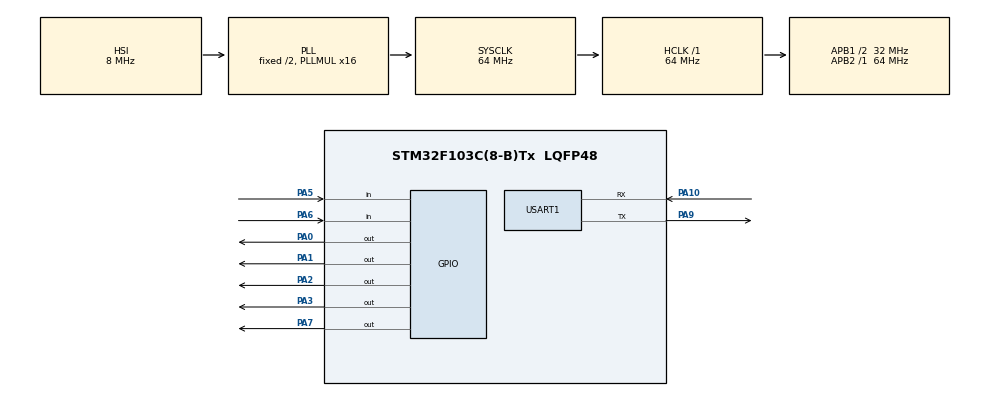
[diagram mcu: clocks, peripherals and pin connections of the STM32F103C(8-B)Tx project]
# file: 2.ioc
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Mcu.Family=STM32F1
Mcu.Name=STM32F103C(8-B)Tx
Mcu.Package=LQFP48
NVIC.PriorityGroup=NVIC_PRIORITYGROUP_4
NVIC.TIM2_IRQn=true\:0\:0\:false\:false\:true\:true\:true\:true
NVIC.TIM3_IRQn=true\:0\:0\:false\:false\:true\:true\:true\:true
PA0-WKUP.PinState=GPIO_PIN_SET
PA0-WKUP.Signal=GPIO_Output
PA1.PinState=GPIO_PIN_SET
PA1.Signal=GPIO_Output
PA10.Mode=Asynchronous
PA10.Signal=USART1_RX
PA2.PinState=GPIO_PIN_SET
PA2.Signal=GPIO_Output
PA3.PinState=GPIO_PIN_SET
PA3.Signal=GPIO_Output
PA5.GPIO_PuPd=GPIO_PULLUP
PA5.Signal=GPIO_Input
PA6.GPIO_PuPd=GPIO_PULLUP
PA6.Signal=GPIO_Input
PA7.GPIO_ModeDefaultOutputPP=GPIO_MODE_OUTPUT_OD
PA7.GPIO_PuPd=GPIO_PULLUP
PA7.GPIO_Speed=GPIO_SPEED_FREQ_HIGH
PA7.PinState=GPIO_PIN_SET
PA7.Signal=GPIO_Output
PA9.Mode=Asynchronous
PA9.Signal=USART1_TX
ProjectManager.HeapSize=0x200
ProjectManager.StackSize=0x400
ProjectManager.TargetToolchain=STM32CubeIDE
RCC.AHBFreq_Value=64000000
RCC.APB1CLKDivider=RCC_HCLK_DIV2
RCC.APB1Freq_Value=32000000
RCC.APB1TimFreq_Value=64000000
RCC.APB2Freq_Value=64000000
RCC.APB2TimFreq_Value=64000000
RCC.HCLKFreq_Value=64000000
RCC.PLLMUL=RCC_PLL_MUL16
RCC.SYSCLKFreq_VALUE=64000000
RCC.SYSCLKSource=RCC_SYSCLKSOURCE_PLLCLK
RCC.USBFreq_Value=64000000
TIM2.Prescaler=64-1
TIM3.AutoReloadPreload=TIM_AUTORELOAD_PRELOAD_ENABLE
USART1.VirtualMode=VM_ASYNC
VP_SYS_VS_ND.Mode=No_Debug
VP_TIM2_VS_ClockSourceINT.Mode=Internal
VP_TIM3_VS_ClockSourceINT.Mode=Internal
board=custom

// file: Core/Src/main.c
/* USER CODE BEGIN Header */
/**
  ******************************************************************************
  * @file           : main.c
  * @brief          : Main program body
  ******************************************************************************
  * @attention
  *
  * Copyright (c) 2026 STMicroelectronics.
  * All rights reserved.
  *
  * This software is licensed under terms that can be found in the LICENSE file
  * in the root directory of this software component.
  * If no LICENSE file comes with this software, it is provided AS-IS.
  *
  ******************************************************************************
  */
/* USER CODE END Header */
#include "main.h"

/* USER CODE BEGIN Includes */

#include <stdio.h>
#include <string.h>
#include <cJSON.h>
#include <ds18b20.h>

/* USER CODE END Includes */

/* USER CODE BEGIN PD */

#define ALL_GPIO_PORT   GPIOA
#define BUZZER_GPIO_PIN   GPIO_PIN_0                   				//无源蜂鸣器
#define LED_BLUE_GPIO_PIN   GPIO_PIN_1   							//蓝色LED：代表烟雾报警，低电平点亮
#define LED_GREEN_GPIO_PIN  GPIO_PIN_2   							//绿色LED：代表温度报警，低电平点亮
#define LED_RED_GPIO_PIN    GPIO_PIN_3   							//红色LED：代表火焰报警，低电平点亮
#define FIRE_GPIO_PIN   GPIO_PIN_5									//火焰传感器,识别到火焰为低电平,默认拉高
#define SMOKE_GPIO_PIN   GPIO_PIN_6									//烟雾传感器,识别到烟雾时为低电平,默认拉高
#define TEMPREATURE_GPIO_PIN   GPIO_PIN_7							//温度传感器（DS18B20）的信号线
#define UART_RX_GPIO_PIN   GPIO_PIN_10								//UART接收端
#define UART_TX_GPIO_PIN   GPIO_PIN_9								//UART发射端

/* USER CODE END PD */

TIM_HandleTypeDef htim2;
TIM_HandleTypeDef htim3;

UART_HandleTypeDef huart1;

/* USER CODE BEGIN PV */

volatile uint8_t buzzer_state = 0; 					//无源蜂鸣器状态机，0=灭，1=急促(100ms响/100ms停)，2=缓慢(500ms响/500ms停)，3=长响
volatile _Bool fire_state = 0;						//火焰传感器状态机，0为没火，1为有火
volatile _Bool smoke_state = 0;						//烟雾传感器，0为没烟，1为有烟
volatile float temperature = 0;						//温度传感器值

// 三色LED状态机（每 100ms 换相）：
// 0=灭
// 1=蓝闪(仅烟雾)  2=绿闪(仅温度)  3=红闪(仅火焰)
// 4=蓝↔绿(烟雾+温度)  5=蓝↔红(烟雾+火焰)  6=绿↔红(温度+火焰)
// 7=红→绿→蓝 轮流亮(三路全报)
volatile uint8_t led_state = 0;

ds18b20_t ds18b20; 									//ds18b20所需参数

volatile uint8_t init_err = 0;   /* 扫描返回码 */
volatile uint8_t init_dev = 0;   /* 扫描到的器件数 */

/* USER CODE END PV */

void SystemClock_Config(void);
static void MX_GPIO_Init(void);
static void MX_TIM3_Init(void);
static void MX_TIM2_Init(void);
static void MX_USART1_UART_Init(void);
/* USER CODE BEGIN PFP */

void Buzzer_Set(uint8_t state);										//蜂鸣器状态设置函数声明

void LED_Set(uint8_t state);										//三色LED闪烁状态设置函数声明

void HAL_TIM_PeriodElapsedCallback(TIM_HandleTypeDef *htim);		//定时器中断函数声明

void My_DS18B20_Init(void);											//温度传感器初始化函数定义

float Get_Temperature(void);										//温度传感器读取函数定义

void Send_Sensor_JSON(float temp, uint8_t fire, uint8_t smoke);		//UART串口发送数据函数定义

/* USER CODE END PFP */

int main(void)
{

  /* MCU Configuration--------------------------------------------------------*/

  /* Reset of all peripherals, Initializes the Flash interface and the Systick. */
  HAL_Init();

  /* Configure the system clock */
  SystemClock_Config();

  /* Initialize all configured peripherals */
  MX_GPIO_Init();
  MX_TIM3_Init();
  MX_TIM2_Init();
  MX_USART1_UART_Init();
  /* USER CODE BEGIN 2 */

  // 1. 启动底层心跳定时器（250us，一直跑，永不停止）
  __HAL_TIM_SET_PRESCALER(&htim3, 64 - 1);
  __HAL_TIM_SET_AUTORELOAD(&htim3, 250 - 1);
  __HAL_TIM_SET_COUNTER(&htim3, 0);
  HAL_TIM_Base_Start_IT(&htim3);

  Buzzer_Set(0);				//初始化无源蜂鸣器状态
  LED_Set(0);					//初始化三色LED状态
  My_DS18B20_Init(); 			// 初始化温度传感器
  ds18b20_cnv(&ds18b20);		//开始第一次温度转换

  /* USER CODE END 2 */

  /* Infinite loop */
  while (1)
  {

    /* USER CODE BEGIN 3 */

	    /* ============================================================
	     * DS18B20 掉线自恢复
	     * 原因：My_DS18B20_Init() 只在开机时扫描一次 ROM（约 250ms 内重试）。
	     *       如果传感器上电慢/接触抖动导致这次扫描没应答，rom_id_found
	     *       会一直是 0；而 Get_Temperature() 用 ds18b20_req_read(...,0)
	     *       需要 ROM 编号，于是永远读不到温度（temperature 保持 0）。
	     * 做法：在“没有找到器件”时每 2 秒重新扫描一次；一旦扫到（dev>=1）
	     *       这段就自动不再执行，不影响正常运行的时序。
	     * ============================================================ */
	    static uint32_t last_scan_tick = 0;                 /* 上次重扫时刻 */
	    if (ow_devices(&ds18b20.ow) == 0) {                 /* 当前没找到 ROM */
	        if (HAL_GetTick() - last_scan_tick >= 2000) {   /* 每 2 秒重扫一次 */
	            last_scan_tick = HAL_GetTick();
	            ds18b20_update_rom_id(&ds18b20);            /* 重新搜索 ROM */
	            while (ds18b20_is_busy(&ds18b20));          /* 等搜索完成（几 ms） */
	        }
	    }

	  fire_state = (HAL_GPIO_ReadPin(ALL_GPIO_PORT, FIRE_GPIO_PIN) == GPIO_PIN_RESET) ? 1 : 0;		//传感器采样写入状态机
	  smoke_state = (HAL_GPIO_ReadPin(ALL_GPIO_PORT, SMOKE_GPIO_PIN) == GPIO_PIN_RESET) ? 1 : 0;
	  temperature = Get_Temperature();

	    // 2. 限制发送频率（比如 200ms 发一次，而不是死循环狂发）
	    static uint32_t last_uart_tick = 0;
	    if (HAL_GetTick() - last_uart_tick >= 200) {
	        last_uart_tick = HAL_GetTick();

	        // 这里直接调用即可，HAL_UART_Transmit 内部会自动阻塞等待发送完毕，不需要额外的 HAL_Delay
	        Send_Sensor_JSON(temperature, fire_state, smoke_state);
	    }

	    HAL_Delay(10); // 给 CPU 稍微喘口气，或者保持你之前的 20ms 也行

//	    /* ---- 报警分级：每个传感器 0=安全，1=危险 ---- */
//	    uint8_t temp_trigger  = (temperature >= 50.0f) ? 1 : 0;
//	    uint8_t trigger_count = (uint8_t)(fire_state + smoke_state + temp_trigger);
//
//	    if (trigger_count == 3) {
//	        LED_Set(7);  Buzzer_Set(3);                        /* 三路全报：三色轮闪 + 长响 */
//	    } else if (trigger_count == 2) {
//	        if (smoke_state && temp_trigger)    LED_Set(4);    /* 烟+温：蓝↔绿 */
//	        else if (smoke_state && fire_state) LED_Set(5);    /* 烟+火：蓝↔红 */
//	        else                                LED_Set(6);    /* 温+火：绿↔红 */
//	        Buzzer_Set(1);                                     /* 急促 */
//	    } else if (trigger_count == 1) {
//	        if (smoke_state)       LED_Set(1);                 /* 仅烟：蓝闪 */
//	        else if (temp_trigger) LED_Set(2);                 /* 仅温：绿闪 */
//	        else                   LED_Set(3);                 /* 仅火：红闪 */
//	        Buzzer_Set(2);                                     /* 缓慢 */
//	    } else {
//	        LED_Set(0);  Buzzer_Set(0);
//	    }
  }
  /* USER CODE END 3 */
}

void SystemClock_Config(void)
{
  RCC_OscInitTypeDef RCC_OscInitStruct = {0};
  RCC_ClkInitTypeDef RCC_ClkInitStruct = {0};

  /** Initializes the RCC Oscillators according to the specified parameters
  * in the RCC_OscInitTypeDef structure.
  */
  RCC_OscInitStruct.OscillatorType = RCC_OSCILLATORTYPE_HSI;
  RCC_OscInitStruct.HSIState = RCC_HSI_ON;
  RCC_OscInitStruct.HSICalibrationValue = RCC_HSICALIBRATION_DEFAULT;
  RCC_OscInitStruct.PLL.PLLState = RCC_PLL_ON;
  RCC_OscInitStruct.PLL.PLLSource = RCC_PLLSOURCE_HSI_DIV2;
  RCC_OscInitStruct.PLL.PLLMUL = RCC_PLL_MUL16;
  if (HAL_RCC_OscConfig(&RCC_OscInitStruct) != HAL_OK)
  {
    Error_Handler();
  }

  /** Initializes the CPU, AHB and APB buses clocks
  */
  RCC_ClkInitStruct.ClockType = RCC_CLOCKTYPE_HCLK|RCC_CLOCKTYPE_SYSCLK
                              |RCC_CLOCKTYPE_PCLK1|RCC_CLOCKTYPE_PCLK2;
  RCC_ClkInitStruct.SYSCLKSource = RCC_SYSCLKSOURCE_PLLCLK;
  RCC_ClkInitStruct.AHBCLKDivider = RCC_SYSCLK_DIV1;
  RCC_ClkInitStruct.APB1CLKDivider = RCC_HCLK_DIV2;
  RCC_ClkInitStruct.APB2CLKDivider = RCC_HCLK_DIV1;

  if (HAL_RCC_ClockConfig(&RCC_ClkInitStruct, FLASH_LATENCY_2) != HAL_OK)
  {
    Error_Handler();
  }
}

static void MX_TIM2_Init(void)
{

  TIM_ClockConfigTypeDef sClockSourceConfig = {0};
  TIM_MasterConfigTypeDef sMasterConfig = {0};

  htim2.Instance = TIM2;
  htim2.Init.Prescaler = 64-1;
  htim2.Init.CounterMode = TIM_COUNTERMODE_UP;
  htim2.Init.Period = 65535;
  htim2.Init.ClockDivision = TIM_CLOCKDIVISION_DIV1;
  htim2.Init.AutoReloadPreload = TIM_AUTORELOAD_PRELOAD_DISABLE;
  if (HAL_TIM_Base_Init(&htim2) != HAL_OK)
  {
    Error_Handler();
  }
  sClockSourceConfig.ClockSource = TIM_CLOCKSOURCE_INTERNAL;
  if (HAL_TIM_ConfigClockSource(&htim2, &sClockSourceConfig) != HAL_OK)
  {
    Error_Handler();
  }
  sMasterConfig.MasterOutputTrigger = TIM_TRGO_RESET;
  sMasterConfig.MasterSlaveMode = TIM_MASTERSLAVEMODE_DISABLE;
  if (HAL_TIMEx_MasterConfigSynchronization(&htim2, &sMasterConfig) != HAL_OK)
  {
    Error_Handler();
  }

}

static void MX_TIM3_Init(void)
{

  TIM_ClockConfigTypeDef sClockSourceConfig = {0};
  TIM_MasterConfigTypeDef sMasterConfig = {0};

  htim3.Instance = TIM3;
  htim3.Init.Prescaler = 0;
  htim3.Init.CounterMode = TIM_COUNTERMODE_UP;
  htim3.Init.Period = 65535;
  htim3.Init.ClockDivision = TIM_CLOCKDIVISION_DIV1;
  htim3.Init.AutoReloadPreload = TIM_AUTORELOAD_PRELOAD_ENABLE;
  if (HAL_TIM_Base_Init(&htim3) != HAL_OK)
  {
    Error_Handler();
  }
  sClockSourceConfig.ClockSource = TIM_CLOCKSOURCE_INTERNAL;
  if (HAL_TIM_ConfigClockSource(&htim3, &sClockSourceConfig) != HAL_OK)
  {
    Error_Handler();
  }
  sMasterConfig.MasterOutputTrigger = TIM_TRGO_RESET;
  sMasterConfig.MasterSlaveMode = TIM_MASTERSLAVEMODE_DISABLE;
  if (HAL_TIMEx_MasterConfigSynchronization(&htim3, &sMasterConfig) != HAL_OK)
  {
    Error_Handler();
  }

}

static void MX_USART1_UART_Init(void)
{

  huart1.Instance = USART1;
  huart1.Init.BaudRate = 115200;
  huart1.Init.WordLength = UART_WORDLENGTH_8B;
  huart1.Init.StopBits = UART_STOPBITS_1;
  huart1.Init.Parity = UART_PARITY_NONE;
  huart1.Init.Mode = UART_MODE_TX_RX;
  huart1.Init.HwFlowCtl = UART_HWCONTROL_NONE;
  huart1.Init.OverSampling = UART_OVERSAMPLING_16;
  if (HAL_UART_Init(&huart1) != HAL_OK)
  {
    Error_Handler();
  }

}

static void MX_GPIO_Init(void)
{
  GPIO_InitTypeDef GPIO_InitStruct = {0};

  /* GPIO Ports Clock Enable */
  __HAL_RCC_GPIOA_CLK_ENABLE();

  /*Configure GPIO pin Output Level */
  HAL_GPIO_WritePin(GPIOA, GPIO_PIN_0|GPIO_PIN_1|GPIO_PIN_2|GPIO_PIN_3
                          |GPIO_PIN_7, GPIO_PIN_SET);

  /*Configure GPIO pins : PA0 PA1 PA2 PA3 */
  GPIO_InitStruct.Pin = GPIO_PIN_0|GPIO_PIN_1|GPIO_PIN_2|GPIO_PIN_3;
  GPIO_InitStruct.Mode = GPIO_MODE_OUTPUT_PP;
  GPIO_InitStruct.Pull = GPIO_NOPULL;
  GPIO_InitStruct.Speed = GPIO_SPEED_FREQ_LOW;
  HAL_GPIO_Init(GPIOA, &GPIO_InitStruct);

  /*Configure GPIO pins : PA5 PA6 */
  GPIO_InitStruct.Pin = GPIO_PIN_5|GPIO_PIN_6;
  GPIO_InitStruct.Mode = GPIO_MODE_INPUT;
  GPIO_InitStruct.Pull = GPIO_PULLUP;
  HAL_GPIO_Init(GPIOA, &GPIO_InitStruct);

  /*Configure GPIO pin : PA7 */
  GPIO_InitStruct.Pin = GPIO_PIN_7;
  GPIO_InitStruct.Mode = GPIO_MODE_OUTPUT_OD;
  GPIO_InitStruct.Pull = GPIO_PULLUP;
  GPIO_InitStruct.Speed = GPIO_SPEED_FREQ_HIGH;
  HAL_GPIO_Init(GPIOA, &GPIO_InitStruct);

}

/* USER CODE BEGIN 4 */

// 初始化 DS18B20 库（去 main 里面调用）
void My_DS18B20_Init(void) {
    ow_init_t ow_init_struct = {0};
    ow_init_struct.tim_handle = &htim2;
    ow_init_struct.gpio = ALL_GPIO_PORT;
    ow_init_struct.pin = TEMPREATURE_GPIO_PIN;
    ow_init_struct.tim_cb = HAL_TIM_PeriodElapsedCallback;
    ow_init_struct.done_cb = NULL;
    ow_init_struct.rom_id_filter = 0;

    ds18b20_init(&ds18b20, &ow_init_struct);

    /* 最多重扫 5 次，避免上电时序/接触抖动导致永久找不到器件 */
    for (uint8_t i = 0; i < 5; i++) {
        ds18b20_update_rom_id(&ds18b20);
        while (ds18b20_is_busy(&ds18b20));                 /* 等搜索真正结束 */
        init_err = (uint8_t)ds18b20_last_error(&ds18b20);  /* 这时才是真实错误 */
        init_dev = ow_devices(&ds18b20.ow);
        if (init_dev > 0) break;
        HAL_Delay(50);
    }
}

// 温度传感器读取函数
float Get_Temperature(void)
{
    static float last_temp = 0.0f;          // 上一次有效温度（℃）

    if (ds18b20_is_cnv_done(&ds18b20))
    {
        int16_t raw = DS18B20_ERROR;

        if (ow_xfer(&ds18b20.ow, DS18B20_CMD_READ, NULL, 0, 9) == OW_ERR_NONE)
        {
            while (ds18b20_is_busy(&ds18b20));
            raw = ds18b20_read_c(&ds18b20);
        }

        if (raw != DS18B20_ERROR)
        {
            last_temp = (float)raw / 100.0f;   // ℃×100 → ℃
        }
        /* else：读失败就保持上次有效值，别把 -10000 播出去 */

        ds18b20_cnv(&ds18b20);                 // 无论成败都续下一轮
    }
    return last_temp;
}

/**
 * @brief 控制蜂鸣器
 * @param state 0=关闭，1=急促，2=缓慢, 3=长响
 */
void Buzzer_Set(uint8_t state) {
    buzzer_state = state;
    if (state == 0) {
        // 立刻拉低引脚，确保不响
        HAL_GPIO_WritePin(ALL_GPIO_PORT, BUZZER_GPIO_PIN, GPIO_PIN_RESET);
    }
}

void LED_Set(uint8_t state) {
    if (state == led_state) return;      /* 状态没变就返回，别打断中断里的闪烁相位 */
    led_state = state;

    /* 先全灭 */
    HAL_GPIO_WritePin(ALL_GPIO_PORT, LED_BLUE_GPIO_PIN | LED_GREEN_GPIO_PIN | LED_RED_GPIO_PIN, GPIO_PIN_SET);

    /* 点亮第 0 相 */
    if (state == 1 || state == 4 || state == 5) {           /* 含“烟”：先亮蓝 */
        HAL_GPIO_WritePin(ALL_GPIO_PORT, LED_BLUE_GPIO_PIN, GPIO_PIN_RESET);
    } else if (state == 2 || state == 6) {                  /* 含“温”：先亮绿 */
        HAL_GPIO_WritePin(ALL_GPIO_PORT, LED_GREEN_GPIO_PIN, GPIO_PIN_RESET);
    } else if (state == 3 || state == 7) {                  /* 仅火 / 三色轮闪：先亮红 */
        HAL_GPIO_WritePin(ALL_GPIO_PORT, LED_RED_GPIO_PIN, GPIO_PIN_RESET);
    }
}

/**
 * @brief 定时器中断回调（统一处理蜂鸣器和LED的节奏）
 */
void HAL_TIM_PeriodElapsedCallback(TIM_HandleTypeDef *htim) {
    if (htim->Instance == TIM3) {
        static uint8_t  tick_250us = 0;

        // ============ 蜂鸣器内部变量 ============
        static uint16_t buzzer_ms = 0;
        static uint8_t  buzzer_ring = 0;
        static uint8_t  last_buzzer_state = 0;

        // ============ LED 内部变量 ============
        static uint16_t led_ms = 0;
        static uint8_t  led_phase = 0;           // 相位：0~5 计数（两相图案用 &1，三相图案用 %3）
        static uint8_t  last_led_state = 0;

        // 【状态变化检测】
        if (buzzer_state != last_buzzer_state) {
            last_buzzer_state = buzzer_state;
            buzzer_ms = 0;
            buzzer_ring = 1; // 重新触发时，从“响”开始
        }

        if (led_state != last_led_state) {
            last_led_state = led_state;
            led_ms = 0;
            led_phase = 0;

            HAL_GPIO_WritePin(ALL_GPIO_PORT, LED_BLUE_GPIO_PIN | LED_GREEN_GPIO_PIN | LED_RED_GPIO_PIN, GPIO_PIN_SET);
            if (led_state == 1 || led_state == 4 || led_state == 5) {
                HAL_GPIO_WritePin(ALL_GPIO_PORT, LED_BLUE_GPIO_PIN, GPIO_PIN_RESET);
            } else if (led_state == 2 || led_state == 6) {
                HAL_GPIO_WritePin(ALL_GPIO_PORT, LED_GREEN_GPIO_PIN, GPIO_PIN_RESET);
            } else if (led_state == 3 || led_state == 7) {
                HAL_GPIO_WritePin(ALL_GPIO_PORT, LED_RED_GPIO_PIN, GPIO_PIN_RESET);
            }
        }

        // 【高频发声】
        if (buzzer_state != 0 && buzzer_ring) {
            HAL_GPIO_TogglePin(ALL_GPIO_PORT, BUZZER_GPIO_PIN);
        }

        // 【1ms 节拍处理】250us * 4 = 1ms
        tick_250us++;
        if (tick_250us >= 4) {
            tick_250us = 0;

            // ----- 1. 处理蜂鸣器节奏 -----
            if (buzzer_state == 3) {                    /* 长响：只响不停 */
                buzzer_ms   = 0;
                buzzer_ring = 1;                        /* 让它一直翻转引脚 */
            } else if (buzzer_state == 0) {             /* 灭 */
                buzzer_ms = 0;
                buzzer_ring = 0;
                HAL_GPIO_WritePin(ALL_GPIO_PORT, BUZZER_GPIO_PIN, GPIO_PIN_RESET);
            } else {                                    /* 1=急促(100/100)，2=缓慢(500/500) */
                buzzer_ms++;
                uint16_t target = (buzzer_state == 1) ? 100 : 500;
                if (buzzer_ring && buzzer_ms >= target) {
                    buzzer_ring = 0;
                    buzzer_ms = 0;
                    HAL_GPIO_WritePin(ALL_GPIO_PORT, BUZZER_GPIO_PIN, GPIO_PIN_RESET);
                } else if (!buzzer_ring && buzzer_ms >= target) {
                    buzzer_ring = 1;
                    buzzer_ms = 0;
                }
            }

            // ----- 2. 处理 LED 节奏 -----
            if (led_state == 0) {
                led_ms = 0;
                led_phase = 0;
                /* 灭灯已经由 LED_Set(0) 做过，这里每毫秒重复写没有意义，省掉 */
            } else {
                led_ms++;
                if (led_ms >= 100) {                    // 100ms 换一相
                    led_ms = 0;
                    led_phase++;
                    if (led_phase >= 6) led_phase = 0;  // 0~5：2 相和 3 相都对齐

                    HAL_GPIO_WritePin(ALL_GPIO_PORT, LED_BLUE_GPIO_PIN | LED_GREEN_GPIO_PIN | LED_RED_GPIO_PIN, GPIO_PIN_SET);

                    if (led_state == 7) {
                        /* 三路全报：红 → 绿 → 蓝 轮流亮 */
                        if (led_phase % 3 == 0) {
                            HAL_GPIO_WritePin(ALL_GPIO_PORT, LED_RED_GPIO_PIN, GPIO_PIN_RESET);
                        } else if (led_phase % 3 == 1) {
                            HAL_GPIO_WritePin(ALL_GPIO_PORT, LED_GREEN_GPIO_PIN, GPIO_PIN_RESET);
                        } else {
                            HAL_GPIO_WritePin(ALL_GPIO_PORT, LED_BLUE_GPIO_PIN, GPIO_PIN_RESET);
                        }
                    } else if ((led_phase & 1) == 0) {
                        /* ---- 第 0 相 ---- */
                        if (led_state == 1 || led_state == 4 || led_state == 5) {
                            HAL_GPIO_WritePin(ALL_GPIO_PORT, LED_BLUE_GPIO_PIN, GPIO_PIN_RESET);
                        } else if (led_state == 2 || led_state == 6) {
                            HAL_GPIO_WritePin(ALL_GPIO_PORT, LED_GREEN_GPIO_PIN, GPIO_PIN_RESET);
                        } else if (led_state == 3) {
                            HAL_GPIO_WritePin(ALL_GPIO_PORT, LED_RED_GPIO_PIN, GPIO_PIN_RESET);
                        }
                    } else {
                        /* ---- 第 1 相 ---- */
                        if (led_state == 4) {
                            HAL_GPIO_WritePin(ALL_GPIO_PORT, LED_GREEN_GPIO_PIN, GPIO_PIN_RESET);
                        } else if (led_state == 5 || led_state == 6) {
                            HAL_GPIO_WritePin(ALL_GPIO_PORT, LED_RED_GPIO_PIN, GPIO_PIN_RESET);
                        }
                        /* 1/2/3 是灭相，不写任何东西 */
                    }
                }
            }
        }
    }
    else if (htim->Instance == TIM2) {
            ow_callback(&ds18b20.ow);  // 把中断交给单总线库处理
    }
}

// 通过串口发送传感器 JSON 数据（温度保留两位小数，不用浮点 printf）
void Send_Sensor_JSON(float temp, uint8_t fire, uint8_t smoke)
{
    /* 先把温度转成"百分之一度"的整数，再用整数格式化输出两位小数：
       - 为什么：newlib-nano 默认没有浮点 printf，sprintf("%f") 会输出空串；
       - 四舍五入：正数 +0.5、负数 -0.5 后截断；
       - 负数单独取符号，避免 -0.5 被格式化成 "0.50"；
       - %02lu 保证 "27.05" 不会被打印成 "27.5"。 */
    int32_t  t100    = (int32_t)(temp * 100.0f + ((temp >= 0.0f) ? 0.5f : -0.5f));
    const char *sign = (t100 < 0) ? "-" : "";
    uint32_t abs100  = (uint32_t)((t100 < 0) ? -t100 : t100);

    char buf[192];   /* 一行 JSON 约 160 字节，192 留余量 */
    int n = snprintf(buf, sizeof(buf),
        "{\"header\":\"SENSOR_DATA\",\"data\":{"
        "\"temperature\":%s%lu.%02lu,"
        "\"int_dev\":%u,\"int_err\":%u,"					//UART数据体里的温度传感器调试字段
        "\"fire_alarm\":%u,\"smoke_alarm\":%u,"
    	"\"led_state\":%u,\"buzzer_state\":%u"
        "},\"footer\":\"END\"}\r\n",
        sign,
        (unsigned long)(abs100 / 100u),     /* 整数部分 */
        (unsigned long)(abs100 % 100u),     /* 两位小数 */
        (unsigned)ow_devices(&ds18b20.ow),  /* 调试字段，可保留 */
        (unsigned)ds18b20_last_error(&ds18b20),
        (unsigned)fire,
        (unsigned)smoke,
		(unsigned)led_state,
		(unsigned)buzzer_state);

    if (n > 0)   /* snprintf 出错(-1)就不发 */
    {
        HAL_UART_Transmit(&huart1, (uint8_t *)buf, (uint16_t)n, 100);  /* 100ms 超时，避免死等 */
    }
}

/* USER CODE END 4 */

void Error_Handler(void)
{
  __disable_irq();
  while (1)
  {
  }
}
